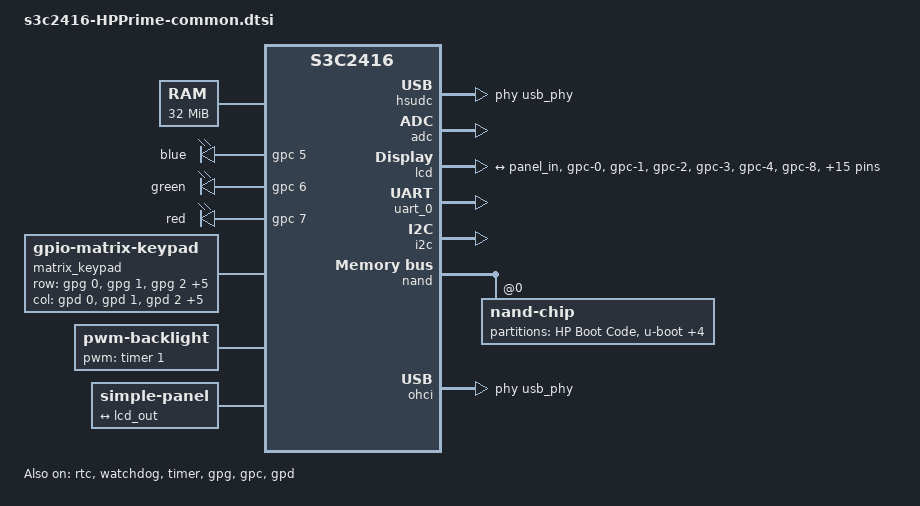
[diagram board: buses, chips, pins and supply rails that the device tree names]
// SPDX-License-Identifier: GPL-2.0
/*
 * Samsung SMDK2416 board device tree source
 *
 * Copyright (c) 2013 Heiko Stuebner <heiko@sntech.de>
 */

#include <dt-bindings/gpio/gpio.h>
#include <dt-bindings/input/input.h>
#include <dt-bindings/interrupt-controller/irq.h>

#include "s3c2416.dtsi"

/ {
	compatible = "hp,prime", "samsung,smdk2416", "samsung,s3c2416";

	memory@30000000 {
		device_type = "memory";
		reg =  <0x30000000 0x2000000>;
	};

	xti: clock-0 {
		compatible = "fixed-clock";
		clock-frequency = <12000000>;
		clock-output-names = "xti";
		#clock-cells = <0>;
	};

	leds {
		compatible = "gpio-leds";

		led-blue {
			label = "blue";
			gpios = <&gpc 5 GPIO_ACTIVE_HIGH>;
			default-state = "off";
		};

		led-green {
			label = "green";
			gpios = <&gpc 6 GPIO_ACTIVE_HIGH>;
			default-state = "off";
		};

		led-red {
			label = "red";
			gpios = <&gpc 7 GPIO_ACTIVE_HIGH>;
			default-state = "off";
		};
	};

    hsudc: usb@49800000 {
		compatible = "samsung,s3c2416-hsudc";
		/* Confirm the exact base address and IRQ for S3C2416 */
		reg = <0x49800000 0x200>;
		interrupt-parent = <&intc>; /* Ensure this points to your s3c24xx-irq node */
        interrupts = <0 0 25 1>;    /* <Ctrl_ID Parent_IRQ HWIRQ_Index Trigger> */

		clocks = <&clocks HCLK_USBD>;
		clock-names = "usb-device";

		/* Here is where the MAC driver finds the PHY */
		phys = <&usb_phy>;
		phy-names = "usb2-phy";

		samsung,epnums = <9>;

	};

    adc: adc@58000000 {
        compatible = "samsung,s3c2416-adc";
        reg = <0x58000000 0x100>;
        interrupt-parent = <&intc>;
        interrupts = <1 31 10 4>; /* Example IRQ, verify against your generic interrupt controller spec */
        clocks = <&clocks PCLK_ADC>;
        clock-names = "adc";
        status = "okay";
    };
    matrix_keypad: matrix-keypad {
        compatible = "gpio-matrix-keypad";

        /* GPIO Configuration */

        row-gpios = <&gpg 0 GPIO_ACTIVE_HIGH>,
                    <&gpg 1 GPIO_ACTIVE_HIGH>,
                    <&gpg 2 GPIO_ACTIVE_HIGH>,
                    <&gpg 3 GPIO_ACTIVE_HIGH>,
                    <&gpg 4 GPIO_ACTIVE_HIGH>,
                    <&gpg 5 GPIO_ACTIVE_HIGH>,
                    <&gpg 6 GPIO_ACTIVE_HIGH>,
                    <&gpg 7 GPIO_ACTIVE_HIGH>;

        col-gpios = <&gpd 0 GPIO_ACTIVE_HIGH>,
                    <&gpd 1 GPIO_ACTIVE_HIGH>,
                    <&gpd 2 GPIO_ACTIVE_HIGH>,
                    <&gpd 3 GPIO_ACTIVE_HIGH>,
                    <&gpd 4 GPIO_ACTIVE_HIGH>,
                    <&gpd 5 GPIO_ACTIVE_HIGH>,
                    <&gpd 6 GPIO_ACTIVE_HIGH>,
                    <&gpd 7 GPIO_ACTIVE_HIGH>;

        /* Timing Configuration */
        debounce-delay-ms = <10>;
        col-scan-delay-us = <100>;

        /* Feature Flags */
        wakeup-source; /* This boolean property enables wakeup */
        only_fn_wakeup;

        /* Fn Key Configuration (using our new binding) */
        linux,fn-key-position = <0 0>; /* Fn key is at ROW=0, COL=0 */

        /*
         * Keymaps
         * Format is: <scan_code linux_key_code>
         * scan_code = (row << 3) | column
         */
        linux,keymap = <
            /* Normal Layer */
            MATRIX_KEY(7, 0, KEY_ENTER)
            MATRIX_KEY(7, 1, KEY_RIGHT)
            MATRIX_KEY(6, 0, KEY_O) MATRIX_KEY(6, 1, KEY_R) MATRIX_KEY(6, 2, KEY_Q) MATRIX_KEY(6, 3, KEY_W)
            MATRIX_KEY(6, 4, KEY_V) MATRIX_KEY(6, 5, KEY_U) MATRIX_KEY(6, 6, KEY_SLASH) MATRIX_KEY(6, 7, KEY_Z)
            MATRIX_KEY(5, 0, KEY_S) MATRIX_KEY(5, 1, KEY_BACKSLASH)
            MATRIX_KEY(5, 2, KEY_MENU) MATRIX_KEY(5, 3, KEY_CAPSLOCK)
            MATRIX_KEY(5, 4, KEY_UP) MATRIX_KEY(5, 5, KEY_Y) MATRIX_KEY(5, 6, KEY_DOT) MATRIX_KEY(5, 7, KEY_PAUSE)
            MATRIX_KEY(4, 0, KEY_LEFTMETA) MATRIX_KEY(4, 1, KEY_LEFTALT) MATRIX_KEY(4, 2, KEY_TAB) MATRIX_KEY(4, 3, KEY_HOME)
            MATRIX_KEY(4, 4, KEY_GRAVE) MATRIX_KEY(4, 5, KEY_DOWN) MATRIX_KEY(4, 6, KEY_ESC) MATRIX_KEY(4, 7, KEY_N)
            MATRIX_KEY(3, 0, KEY_M) MATRIX_KEY(3, 1, KEY_L) MATRIX_KEY(3, 2, KEY_K) MATRIX_KEY(3, 3, KEY_J)
            MATRIX_KEY(3, 4, KEY_I) MATRIX_KEY(3, 5, KEY_H) MATRIX_KEY(3, 6, KEY_LEFTSHIFT) MATRIX_KEY(3, 7, KEY_F)
            MATRIX_KEY(2, 0, KEY_BACKSPACE) MATRIX_KEY(2, 1, KEY_D) MATRIX_KEY(2, 2, KEY_C) MATRIX_KEY(2, 3, KEY_LEFTCTRL)
            MATRIX_KEY(2, 4, KEY_E) MATRIX_KEY(2, 5, KEY_A) MATRIX_KEY(2, 6, KEY_G) MATRIX_KEY(2, 7, KEY_B)
            MATRIX_KEY(1, 0, KEY_P) MATRIX_KEY(1, 1, KEY_COMMA) MATRIX_KEY(1, 2, KEY_T) MATRIX_KEY(1, 3, KEY_X)
            MATRIX_KEY(1, 4, KEY_MINUS) MATRIX_KEY(1, 5, KEY_EQUAL) MATRIX_KEY(1, 6, KEY_SPACE) MATRIX_KEY(1, 7, KEY_LEFT)
        >;

        linux,fn-keymap = <
            /* Fn Layer */
            MATRIX_KEY(7, 0, KEY_ENTER)
            MATRIX_KEY(7, 1, KEY_END)
            MATRIX_KEY(6, 1, KEY_8) MATRIX_KEY(6, 2, KEY_7) MATRIX_KEY(6, 3, KEY_6)
            MATRIX_KEY(6, 4, KEY_5) MATRIX_KEY(6, 5, KEY_4) MATRIX_KEY(6, 6, KEY_3) MATRIX_KEY(6, 7, KEY_2)
            MATRIX_KEY(5, 0, KEY_9) MATRIX_KEY(5, 1, KEY_BACKSLASH)
            MATRIX_KEY(5, 2, KEY_MENU) MATRIX_KEY(5, 3, KEY_CAPSLOCK)
            MATRIX_KEY(5, 4, KEY_PAGEUP) MATRIX_KEY(5, 5, KEY_1) MATRIX_KEY(5, 6, KEY_DOT) MATRIX_KEY(5, 7, KEY_PAUSE)
            MATRIX_KEY(4, 0, KEY_RIGHTMETA) MATRIX_KEY(4, 1, KEY_RIGHTALT) MATRIX_KEY(4, 2, KEY_TAB) MATRIX_KEY(4, 3, KEY_INSERT)
            MATRIX_KEY(4, 4, KEY_GRAVE) MATRIX_KEY(4, 5, KEY_PAGEDOWN) MATRIX_KEY(4, 6, KEY_ESC) MATRIX_KEY(4, 7, KEY_APOSTROPHE)
            MATRIX_KEY(3, 1, KEY_F12) MATRIX_KEY(3, 2, KEY_F11) MATRIX_KEY(3, 3, KEY_F10) MATRIX_KEY(3, 4, KEY_F9)
            MATRIX_KEY(3, 5, KEY_F8) MATRIX_KEY(3, 6, KEY_RIGHTSHIFT) MATRIX_KEY(3, 7, KEY_F6)
            MATRIX_KEY(2, 0, KEY_DELETE) MATRIX_KEY(2, 1, KEY_F4) MATRIX_KEY(2, 2, KEY_F3) MATRIX_KEY(2, 3, KEY_RIGHTCTRL)
            MATRIX_KEY(2, 4, KEY_F5) MATRIX_KEY(2, 5, KEY_F1) MATRIX_KEY(2, 6, KEY_F7) MATRIX_KEY(2, 7, KEY_F2)
            MATRIX_KEY(1, 1, KEY_0) MATRIX_KEY(1, 2, KEY_LEFTBRACE) MATRIX_KEY(1, 3, KEY_RIGHTBRACE)
            MATRIX_KEY(1, 4, KEY_MINUS) MATRIX_KEY(1, 5, KEY_SEMICOLON) MATRIX_KEY(1, 6, KEY_SPACE) MATRIX_KEY(1, 7, KEY_HOME)
        >;
    };

	backlight: backlight {
        compatible = "pwm-backlight";

        // 必需：PWM配置
        pwms = <&timer 1 1000000 0>;  // 通道1，1ms周期（1kHz），正常极性

        // 可选：亮度级别（建议11级或更多）
        brightness-levels = <0 10 20 30 40 50 60 70 80 90 100>;
        default-brightness-level = <6>;  // 默认100%亮度


        // 引脚控制
        pinctrl-names = "default";
        pinctrl-0 = <&pwm1_out>;


    };
    panel {
        compatible = "simple-panel";

        port {
            panel_in: endpoint {
                remote-endpoint = <&lcd_out>;
            };
        };
    };
    lcd: lcd@4d000000 {
		/* 兼容性字符串，必须与驱动的 of_match_table 中的一个匹配 */
		compatible = "samsung,s3c2443-drm";

		/* 寄存器基地址和范围，来自 DEFINE_RES_MEM(S3C_PA_FB, SZ_16K) */
		reg = <0x4C800000 0x4000>;
        #address-cells = <1>;
        #size-cells = <0>;
		interrupt-parent = <&intc>;
        interrupts = <1 16 16 4>;

		clocks = <&clocks HCLK_LCD>, <&clocks SCLK_FIMD>;
	    clock-names = "lcd", "sclk_fimd";


		/* 3. 引脚配置 (使用 pinctrl-names = "default", "sleep" 方案最方便) */
	    pinctrl-names = "default";
	    pinctrl-0 = <&lcd_pins>;

        samsung,vidcon0 = <0x00005273>; /* 具体值参考原代码宏定义计算结果 */
	    samsung,vidcon1 = <0x00000080>;

        display-timings {
        native-mode = <&timing0>;
        timing0: timing0 {

                clock-frequency = <13333333>;

                hactive = <320>;
                vactive = <240>;

                hback-porch = <65>;
                hfront-porch = <18>;
                hsync-len = <1>;

                vback-porch = <18>;
                vfront-porch = <4>;
                vsync-len = <1>;

                hsync-active = <0>;
                vsync-active = <0>;
                de-active = <0>;
                pixelclk-active = <1>; /* 1 = Rising edge, 对应 VIDCON1[7] IVCLK */
            };
        };

        /* 定义窗口 0 (Win0) */
        window@0 {
            reg = <0>;
            samsung,bpp = <32>;
        };
    };


    syscon_misc: syscon@56000000 {
        compatible = "syscon", "simple-mfd";
        reg = <0x56000000 0x100>;
    };

    usb_phy: usb-phy@4c000060 {
        compatible = "samsung,s3c2416-usb-phy";
        /* Covers PWRCFG (0x60) up to UCLKCON (0x8c) */
        reg = <0x4C000060 0x30>;
        #phy-cells = <0>;

        /* Syscon for MISCCR */
        samsung,syscon-misc = <&syscon_misc>;

        /* GPIOs */

        pinctrl-names = "default";
        pinctrl-0 = <&usb_vbus_pin>, <&usb_id_pin>;

        usbd-phy-enable-gpios = <&gph 14 GPIO_ACTIVE_HIGH>;
        id-gpios = <&gpf 6 GPIO_ACTIVE_HIGH>;
        vbus-boost-gpios = <&gph 13 GPIO_ACTIVE_HIGH>;
        vbus-5v-gpios = <&gpf 7 GPIO_ACTIVE_HIGH>;

        /* Configuration */
        samsung,refclk-freq = <12000000>; /* Options: 12000000, 24000000, 48000000 */
        //samsung,refclk-osc;               /* Present = Oscillator, Absent = Crystal */
    };

    reserved-memory {
        #address-cells = <1>;
        #size-cells = <1>;
        ranges;
        ramoops_region: ramoops@32000000 {
            compatible = "ramoops";
            reg = <0x31000000 0x20000>;
            record-size = <0x4000>;
            console-size = <0x4000>;
            ftrace-size = <0x0>;
            pmsg-size = <0x4000>;
            no-map;
        };
    };

    ramoops {
        compatible = "ramoops";
        memory-region = <&ramoops_region>;
    };


};

&uart_0 {
	status = "okay";
	pinctrl-names = "default";
	pinctrl-0 = <&uart0_data>, <&uart0_fctl>;
    clock-names = "uart", "clk_uart_baud0";
	clocks = <&clocks PCLK_UART0>, <&clocks PCLK_UART0>;
};
&intc {
	status="okay";
};

&rtc {
	status = "okay";
};


&watchdog {
	status = "okay";
};
&i2c {
	status = "okay";
    pinctrl-names = "default";
	pinctrl-0 = <&i2c0_bus>;
};

&timer {
    status = "okay";
    samsung,pwm-outputs = <1>;  // 将通道1分配给PWM驱动
};

&pinctrl_0 {
    pwm1_out: pwm1-out-pins {
        samsung,pins = "gpb-1";
        samsung,pin-function = <2>;  // 功能2 = PWM输出
        samsung,pin-pud = <0>;       // 无上下拉
    };
    /* ADD ID PIN to enforce pull-up! */
    usb_id_pin: usb-id-pin {
        samsung,pins = "gpf-6";
        samsung,pin-function = <0>; /* Input */
        samsung,pin-pud = <2>;      /* 2 = Pull-up (REQUIRED for OTG Device mode) */
    };

    /* Optional: Just define GPH14 without initial values,
       letting the driver manage the High/Low state */
    usb_phy_en_pin: usb-phy-en-pin {
        samsung,pins = "gph-14";
        samsung,pin-function = <1>; /* Output */
        samsung,pin-pud = <0>;      /* 0 = None */
    };

    lcd_pins: lcd-pins {
		samsung,pins = "gpc-0", "gpc-1", "gpc-2", "gpc-3",
		               "gpc-4", "gpc-8", "gpc-9", "gpc-10",
                       "gpc-11", "gpc-12", "gpc-13", "gpc-14",
		               "gpc-15", "gpd-8", "gpd-9", "gpd-10",
		               "gpd-11", "gpd-12", "gpd-13", "gpd-14",
		               "gpd-15";
		samsung,pin-function = <2>; // 2 通常代表 LCD 功能
		samsung,pin-pull = <0>;     // 0 = 无上下拉
		samsung,pin-strength = <2>; // 驱动强度
	};
};
&gpg {
status = "okay";
};
&gpc {
status = "okay";
};
&gpd {
status = "okay";
};
&nand {
	status = "okay";

	/* 对应 C 代码中的 smdk_nand_info */
	samsung,tacls  = <20>;
	samsung,twrph0 = <30>;
	samsung,twrph1 = <20>;

	/* 定义具体的 Flash 芯片 */
	nand-chip@0 {
		reg = <0>; /* Chip Select 0 */

		/* 对应 C 代码中的 engine_type = NAND_ECC_ENGINE_TYPE_ON_HOST */
		nand-ecc-mode = "hw";

		/* 对应 C 代码中的 flash_bbt = 1 */
		nand-on-flash-bbt;

		/* 定义分区表 */
		partitions {
			compatible = "fixed-partitions";
			#address-cells = <1>;
			#size-cells = <1>;

			partition@0 {
				label = "HP Boot Code";
				reg = <0x00000000 0x00040000>;
				read-only;
			};

			partition@40000 {
				label = "u-boot";
				reg = <0x00040000 0x00080000>;
			};

			partition@c0000 {
				label = "u-boot-env";
				reg = <0x000c0000 0x00040000>;
			};

			partition@100000 {
				label = "kernel";
				reg = <0x00100000 0x00800000>;
			};

			partition@900000 {
				label = "rootfs";
				reg = <0x00900000 0x0f6e0000>;
			};

			partition@ffe0000 {
				label = "reserved";
				reg = <0x0ffe0000 0x00020000>;
				//read-only;
			};
		};
	};
};

&lcd {
	/* ... lcd 节点内部 ... */
	port {
		lcd_out: endpoint {
			remote-endpoint = <&panel_in>;
		};
	};
};

&ohci {
	assigned-clocks = <&clocks ESYSCLK>, <&clocks EPLL>,
			  <&clocks DIV_USBHOST>;
	assigned-clock-parents = <&clocks EPLL>;
	assigned-clock-rates = <0 96000000 48000000>;
    phys = <&usb_phy>;
	phy-names = "usb";
    status = "okay";
};
